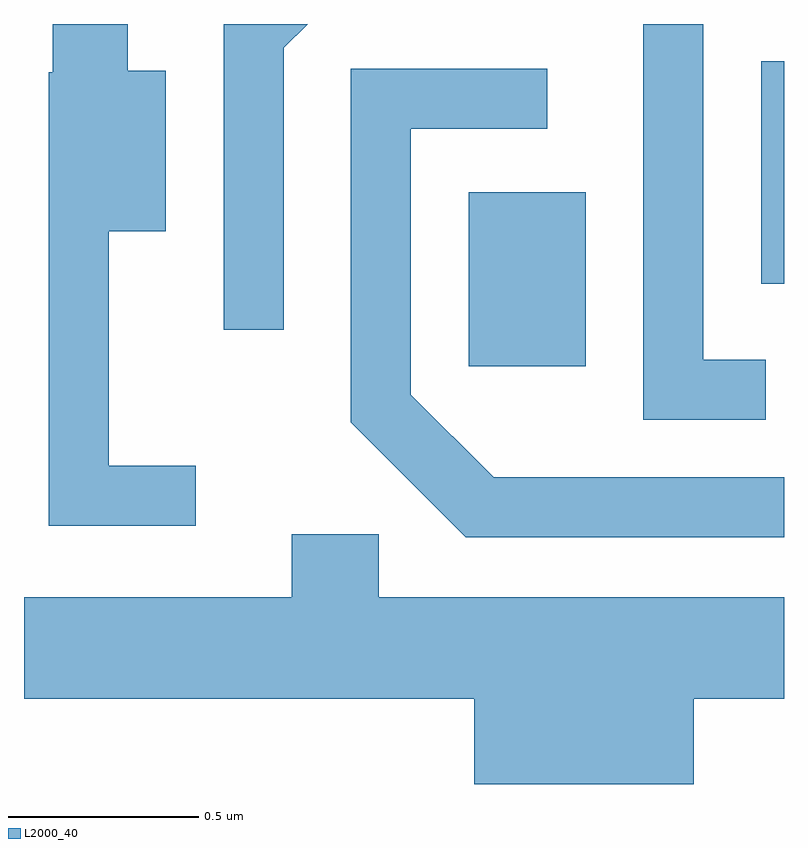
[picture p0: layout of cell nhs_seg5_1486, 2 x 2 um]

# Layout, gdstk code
import gdstk
lib = gdstk.Library(unit=1e-6, precision=1e-09)
def R(c, l, rs):  # rectangles x0, y0, x1, y1
    for r in rs: c.add(gdstk.rectangle(r[:2], r[2:], *l))
def P(c, l, *ps):  # polygons
    for p in ps: c.add(gdstk.Polygon(p, *l))
L2000_40 = (2000, 40)

nhs_seg5_1486 = lib.new_cell('nhs_seg5_1486')
R(nhs_seg5_1486, L2000_40, [(196.781,1513.171,197.089,1513.629), (197.551,1513.388,197.611,1513.974)])
P(nhs_seg5_1486, L2000_40, [(196.063,1512.909),(195.834,1512.909),(195.834,1513.526),(195.984,1513.526),(195.984,1513.949),(195.884,1513.949),(195.884,1514.072),(195.686,1514.072),(195.686,1513.945),(195.676,1513.945),(195.676,1512.751),(196.063,1512.751)],
  [(196.294,1514.009),(196.358,1514.072),(196.136,1514.072),(196.136,1513.268),(196.294,1513.268)],
  [(197.563,1513.189),(197.399,1513.189),(197.399,1514.072),(197.241,1514.072),(197.241,1513.031),(197.563,1513.031)],
  [(197.611,1512.879),(196.847,1512.879),(196.629,1513.097),(196.629,1513.796),(196.988,1513.796),(196.988,1513.954),(196.471,1513.954),(196.471,1513.024),(196.774,1512.721),(197.611,1512.721)],
  [(197.374,1512.296),(197.611,1512.296),(197.611,1512.564),(196.544,1512.564),(196.544,1512.729),(196.316,1512.729),(196.316,1512.564),(195.611,1512.564),(195.611,1512.296),(196.796,1512.296),(196.796,1512.072),(197.374,1512.072)])

lib.write_gds('nhs_seg5_1486.gds')
